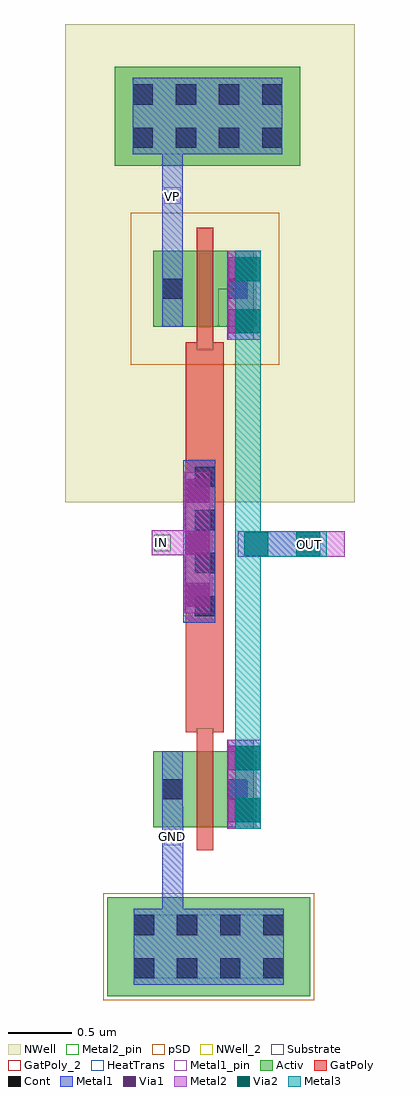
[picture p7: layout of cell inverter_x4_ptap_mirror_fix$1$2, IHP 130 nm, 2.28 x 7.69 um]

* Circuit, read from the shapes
.subckt inverter_x4_ptap_mirror_fix$1$2 GND IN OUT VP
XM1 OUT IN GND GND sg13_lv_nmos w=0.6u l=0.13u
XM2 OUT IN VP VP sg13_lv_pmos w=0.6u l=0.13u
.ends

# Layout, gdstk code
import gdstk
lib = gdstk.Library(unit=1e-6, precision=1e-09)
def R(c, l, rs):  # rectangles x0, y0, x1, y1
    for r in rs: c.add(gdstk.rectangle(r[:2], r[2:], *l))
def A(c, l, x, y, w, h, nx, ny, dx, dy):  # array of equal rectangles
    R(c, l, [(x+i*dx, y+j*dy, x+i*dx+w, y+j*dy+h) for i in range(nx) for j in range(ny)])
Activ = (1, 0)
GatPoly = (5, 0)
GatPoly_2 = (5, 2)
Cont = (6, 0)
Metal1 = (8, 0)
Metal1_pin = (8, 2)
Metal2 = (10, 0)
Metal2_pin = (10, 2)
pSD = (14, 0)
Via1 = (19, 0)
Via2 = (29, 0)
Metal3 = (30, 0)
NWell = (31, 0)
NWell_2 = (31, 2)
Substrate = (40, 0)
HeatTrans = (51, 0)

via_2_14 = lib.new_cell('Via$2$14')
R(via_2_14, Metal2, [(-0.1,-0.35,0.1,0.35)])
R(via_2_14, Via2, [(-0.095,-0.3,0.095,-0.11), (-0.095,0.11,0.095,0.3)])
R(via_2_14, Metal3, [(-0.1,-0.35,0.1,0.35)])

via_1_7 = lib.new_cell('Via$1$7')
R(via_1_7, Metal1, [(-0.105,-0.35,0.105,0.35)])
R(via_1_7, Metal2, [(-0.1,-0.35,0.1,0.35)])
R(via_1_7, Via1, [(-0.095,-0.3,0.095,-0.11), (-0.095,0.11,0.095,0.3)])

via_6_19 = lib.new_cell('Via$6$19')
R(via_6_19, Metal1, [(-0.105,-0.555,0.105,0.555)])
R(via_6_19, Metal2, [(-0.1,-0.555,0.1,0.555)])
A(via_6_19, Via1, -0.095, -0.505, 0.19, 0.19, 1, 3, 0, 0.41)

via_7_19 = lib.new_cell('Via$7$19')
R(via_7_19, Metal2, [(-0.35,-0.1,0.35,0.1)])
R(via_7_19, Via2, [(-0.3,-0.095,-0.11,0.095), (0.11,-0.095,0.3,0.095)])
R(via_7_19, Metal3, [(-0.35,-0.1,0.35,0.1)])

ntap1_33_2 = lib.new_cell('ntap1$33$2')
R(ntap1_33_2, Activ, [(0,0,0.78,0.78)])
R(ntap1_33_2, Cont, [(0.14,0.14,0.3,0.3), (0.48,0.14,0.64,0.3), (0.14,0.48,0.3,0.64), (0.48,0.48,0.64,0.64)])
R(ntap1_33_2, Metal1, [(0.14,0.09,0.64,0.69)])
R(ntap1_33_2, Metal1_pin, [(0.14,0.09,0.64,0.69), (0.14,0.14,0.64,0.64)])
R(ntap1_33_2, NWell, [(-0.24,-0.24,1.02,1.02), (0,0,0.78,0.78)])
R(ntap1_33_2, NWell_2, [(0,0,0.78,0.78)])
ntap1_33_2.add(gdstk.Label('well', (0.39,0.01), layer=63, texttype=0))
ntap1_33_2.add(gdstk.Label('well', (0.39,0.01), layer=31, texttype=0))

nmos_22 = lib.new_cell('nmos$22')
R(nmos_22, Activ, [(0,0,0.3,0.3), (0,0,0.81,0.6), (0.51,0,0.81,0.3)])
R(nmos_22, GatPoly, [(0.34,-0.18,0.47,0.78)])
R(nmos_22, GatPoly_2, [(0.34,-0.18,0.47,0.78)])
R(nmos_22, Cont, [(0.07,0.22,0.23,0.38), (0.58,0.22,0.74,0.38)])
R(nmos_22, Metal1, [(0.07,0,0.23,0.6), (0.58,0,0.74,0.6)])
R(nmos_22, Metal1_pin, [(0.07,0,0.23,0.6), (0.58,0,0.74,0.6)])
R(nmos_22, HeatTrans, [(0.34,-0.18,0.47,0.78)])
nmos_22.add(gdstk.Label('nmos', (0.405,0.3), layer=63, texttype=0))
nmos_22.add(gdstk.Label('nmos', (0.405,0.3), layer=51, texttype=0))

pmos_7 = lib.new_cell('pmos$7')
R(pmos_7, Activ, [(0,0,0.3,0.3), (0,0,0.81,0.6), (0.51,0,0.81,0.3)])
R(pmos_7, GatPoly, [(0.34,-0.18,0.47,0.78), (0.34,-0.18,0.47,0.78)])
R(pmos_7, Cont, [(0.07,0.22,0.23,0.38), (0.58,0.22,0.74,0.38)])
R(pmos_7, Metal1, [(0.07,0,0.23,0.6), (0.07,0,0.23,0.6), (0.58,0,0.74,0.6), (0.58,0,0.74,0.6)])
R(pmos_7, pSD, [(-0.18,-0.3,0.99,0.9)])
R(pmos_7, NWell, [(-0.31,-0.31,1.12,0.91)])
R(pmos_7, Substrate, [(0.51,0,0.81,0.3)])
R(pmos_7, HeatTrans, [(0.34,-0.18,0.47,0.78)])
pmos_7.add(gdstk.Label('pmos', (0.405,0.3), layer=63, texttype=0))
pmos_7.add(gdstk.Label('pmos', (0.405,0.3), layer=51, texttype=0))

via_5_9 = lib.new_cell('Via$5$9')
R(via_5_9, GatPoly, [(-0.15,-0.66,0.15,0.66)])
A(via_5_9, Cont, -0.08, -0.59, 0.16, 0.16, 1, 4, 0, 0.34)
R(via_5_9, Metal1, [(-0.08,-0.64,0.08,0.64)])

ptap1_1_4 = lib.new_cell('ptap1$1$4')
R(ptap1_1_4, Activ, [(0,0,1.6,0.78)])
A(ptap1_1_4, Cont, 0.21, 0.14, 0.16, 0.16, 4, 2, 0.34, 0.34)
R(ptap1_1_4, Metal1, [(0.21,0.09,1.39,0.69), (0.21,0.14,1.39,0.64)])
R(ptap1_1_4, Metal1_pin, [(0.21,0.14,1.39,0.64)])
R(ptap1_1_4, pSD, [(-0.03,-0.03,1.63,0.81)])
R(ptap1_1_4, Substrate, [(0,0,1.6,0.78)])
ptap1_1_4.add(gdstk.Label('sub!', (0.8,0.01), layer=63, texttype=0))
ptap1_1_4.add(gdstk.Label('sub!', (0.8,0.01), layer=40, texttype=0))

inverter_x4_ptap_mirror_ = lib.new_cell('inverter_x4_ptap_mirror_fix$1$2')
R(inverter_x4_ptap_mirror_, GatPoly, [(-0.265,-2.855,-0.135,-2.655), (-0.35,-2.65,-0.05,-1.81), (-0.35,-0.49,-0.05,0.42)])
R(inverter_x4_ptap_mirror_, Metal1, [(-0.535,-4.45,-0.37,-3.805), (-0.535,-3.805,-0.37,-3.24), (-0.37,-1.79,-0.35,-0.51), (-0.35,-1.79,-0.28,-0.51), (-0.535,0.96,-0.375,1.26), (-0.535,1.245,-0.375,2.235)])
R(inverter_x4_ptap_mirror_, Metal1_pin, [(-0.52,-3.54,-0.39,-3.41), (-0.52,1.51,-0.39,1.64)])
R(inverter_x4_ptap_mirror_, Metal2, [(-0.02,-3.41,0.24,-2.71), (0.53,-1.27,0.9,-1.07), (-0.62,-1.26,-0.28,-1.06), (-0.02,0.44,0.24,1.14)])
R(inverter_x4_ptap_mirror_, Metal2_pin, [(0.555,-1.235,0.685,-1.105), (-0.6,-1.225,-0.47,-1.095)])
R(inverter_x4_ptap_mirror_, Metal3, [(0.04,-3.09,0.24,-2.63), (0.04,-2.7,0.24,-0.24), (0.04,-0.34,0.24,0.76)])
R(inverter_x4_ptap_mirror_, NWell, [(-1.3,-0.84,0.98,0.14), (-1.3,0.14,0.98,0.655), (-1.3,0.655,0.755,2.925), (0.755,0.655,0.98,2.925)])
inverter_x4_ptap_mirror_.add(gdstk.Reference(via_2_14, (0.14,-3.06)))
inverter_x4_ptap_mirror_.add(gdstk.Reference(via_1_7, (0.08,-3.06)))
inverter_x4_ptap_mirror_.add(gdstk.Reference(via_6_19, (-0.26,-1.16)))
inverter_x4_ptap_mirror_.add(gdstk.Reference(via_7_19, (0.41,-1.17)))
inverter_x4_ptap_mirror_.add(gdstk.Reference(via_2_14, (0.14,0.79)))
inverter_x4_ptap_mirror_.add(gdstk.Reference(via_1_7, (0.08,0.79)))
inverter_x4_ptap_mirror_.add(gdstk.Reference(ntap1_33_2, (-0.57,1.81)))
inverter_x4_ptap_mirror_.add(gdstk.Reference(nmos_22, (-0.605,-3.4)))
inverter_x4_ptap_mirror_.add(gdstk.Reference(pmos_7, (-0.605,0.54)))
inverter_x4_ptap_mirror_.add(gdstk.Reference(via_5_9, (-0.2,-1.15)))
inverter_x4_ptap_mirror_.add(gdstk.Reference(ptap1_1_4, (-0.97,-4.73)))
inverter_x4_ptap_mirror_.add(gdstk.Reference(ntap1_33_2, (-0.91,1.81)))
inverter_x4_ptap_mirror_.add(gdstk.Reference(ntap1_33_2, (-0.23,1.81)))
inverter_x4_ptap_mirror_.add(gdstk.Label('GND', (-0.455,-3.47), layer=8, texttype=25))
inverter_x4_ptap_mirror_.add(gdstk.Label('VP', (-0.455,1.57), layer=8, texttype=25))
inverter_x4_ptap_mirror_.add(gdstk.Label('OUT', (0.62,-1.17), layer=10, texttype=25))
inverter_x4_ptap_mirror_.add(gdstk.Label('IN', (-0.54,-1.16), layer=10, texttype=25))

lib.write_gds('inverter_x4_ptap_mirror_fix_1_2.gds')
